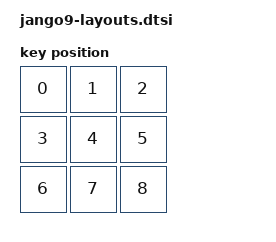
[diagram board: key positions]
/ {
    macropad_physical_layout: macropad_physical_layout {
        compatible = "zmk,physical-layout";
        display-name = "Macro Pad";
        kscan = <&default_kscan>;
        transform = <&default_transform>;

        keys  //                     w   h    x    y     rot    rx    ry
            = <&key_physical_attrs 100 100    0    0       0     0     0>
            , <&key_physical_attrs 100 100  100    0       0     0     0>
            , <&key_physical_attrs 100 100  200    0       0     0     0>
            , <&key_physical_attrs 100 100    0  100       0     0     0>
            , <&key_physical_attrs 100 100  100  100       0     0     0>
            , <&key_physical_attrs 100 100  200  100       0     0     0>
            , <&key_physical_attrs 100 100    0  200       0     0     0>
            , <&key_physical_attrs 100 100  100  200       0     0     0>
            , <&key_physical_attrs 100 100  200  200       0     0     0>
            ;
    };

    position_map {
        compatible = "zmk,physical-layout-position-map";

        macropad_physical_layout {
            physical-layout = <&macropad_physical_layout>;
            positions = <>;
        };
    };
};
